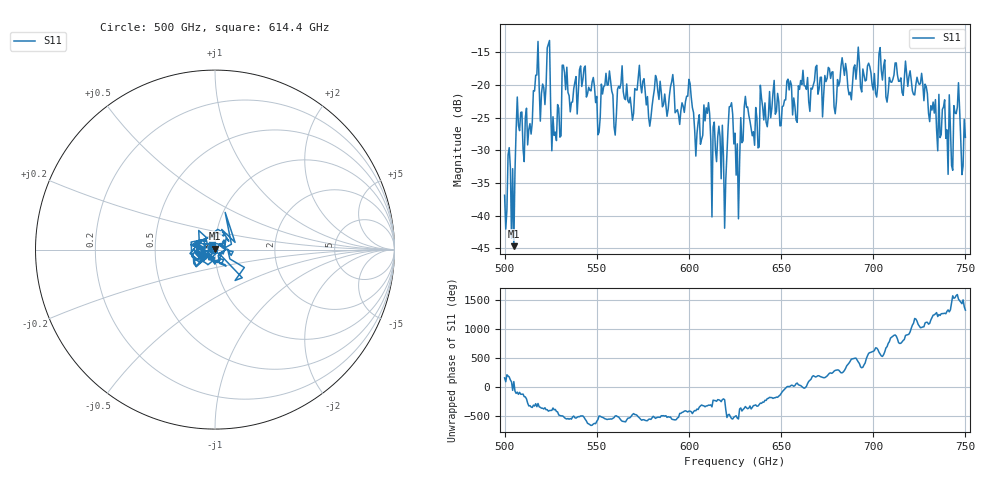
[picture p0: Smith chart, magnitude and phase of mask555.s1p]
!Created with skrf (http://scikit-rf.org).
# GHz S MA R 50.0
!freq magS11 angS11
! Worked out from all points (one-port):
!   401 points, 500 GHz to 750 GHz, reference 50 ohm
!   lowest |S11| = -44.7 dB at 505 GHz (marker M1), VSWR 1.01, Z = 50 + j0.583 ohm
!   |S11| at or under -10 dB: start of sweep to end of sweep
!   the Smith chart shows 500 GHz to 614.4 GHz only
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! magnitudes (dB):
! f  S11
! 500 GHz  -36.9
! 505 GHz  -44.7
! 507.5 GHz  -26.2
! 513.8 GHz  -25.9
! 516.9 GHz  -18.5
! 520.6 GHz  -19.9
! 523.8 GHz  -13.8
! 526.9 GHz  -27.7
! 531.2 GHz  -17.0
! 542.5 GHz  -19.1
! 550.6 GHz  -27.6
! 562.5 GHz  -20.5
! 579.4 GHz  -25.0
! 590.6 GHz  -19.6
! 593.8 GHz  -23.8
! 609.4 GHz  -23.5
! 618.8 GHz  -30.9
! 622.5 GHz  -23.3
! 625 GHz  -27.4
! 626.9 GHz  -40.5
! 631.2 GHz  -23.5
! 636.9 GHz  -25.0
! 656.2 GHz  -24.6
! 680 GHz  -22.6
! 683.8 GHz  -17.2
! 687.5 GHz  -21.1
! 718.8 GHz  -20.2
! 750 GHz  -28.0
